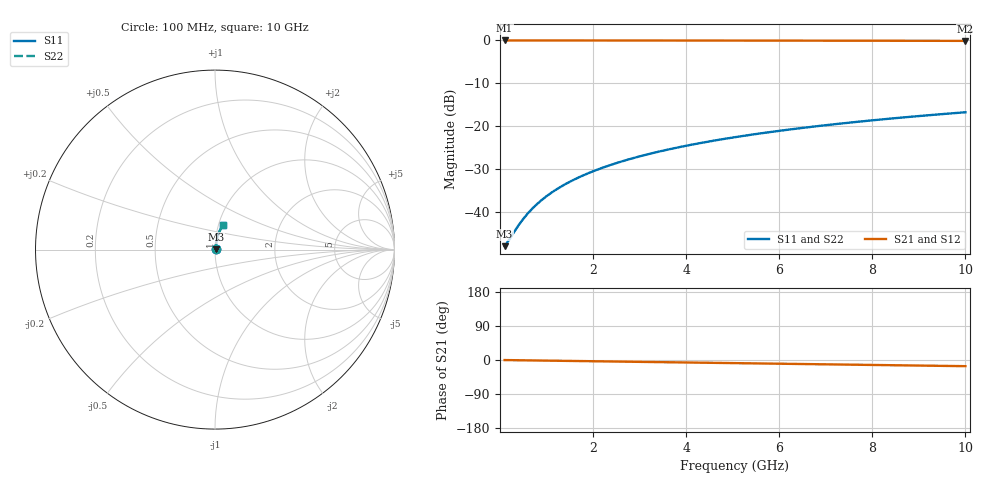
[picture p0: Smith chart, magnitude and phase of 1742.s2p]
# Hz S RI R 50.00
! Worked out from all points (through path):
!   100 points, 100 MHz to 10 GHz, reference 50 ohm
!   highest |S21| = -0.03 dB at 100 MHz (marker M1); lowest = -0.1 dB at 10 GHz (marker M2)
!   group delay of S21, straight-line fit = 4.53 ps
!   lowest |S11| = -48.0 dB at 100 MHz (marker M3), VSWR 1.01, Z = 50.4 + j0.148 ohm
!   |S11| at or under -10 dB: start of sweep to end of sweep
!   |S22| runs from -48.0 to -16.8 dB; largest |S21 - S12| = 0
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1e8  0.00372 0.00147  0.9963 -0.00284  0.9963 -0.00284  0.00372 0.00147
2e8  0.00376 0.00294  0.9962 -0.00569  0.9962 -0.00569  0.00376 0.00294
4e8  0.00384 0.00587  0.9961 -0.0114  0.9961 -0.0114  0.00384 0.00587
5e8  0.00389 0.00734  0.9961 -0.0142  0.9961 -0.0142  0.00389 0.00734
6e8  0.00395 0.00881  0.996 -0.0171  0.996 -0.0171  0.00395 0.00881
7e8  0.00401 0.0103  0.9959 -0.0199  0.9959 -0.0199  0.00401 0.0103
8e8  0.00408 0.0117  0.9958 -0.0228  0.9958 -0.0228  0.00408 0.0117
1e9  0.00425 0.0147  0.9956 -0.0284  0.9956 -0.0284  0.00425 0.0147
1.2e9  0.00445 0.0176  0.9954 -0.0341  0.9954 -0.0341  0.00445 0.0176
1.5e9  0.00481 0.022  0.995 -0.0426  0.995 -0.0426  0.00481 0.022
1.8e9  0.00524 0.0264  0.9944 -0.0512  0.9944 -0.0512  0.00524 0.0264
2.1e9  0.00574 0.0307  0.9938 -0.0597  0.9938 -0.0597  0.00574 0.0307
2.5e9  0.00653 0.0365  0.9928 -0.071  0.9928 -0.071  0.00653 0.0365
2.9e9  0.00744 0.0423  0.9917 -0.0823  0.9917 -0.0823  0.00744 0.0423
3.4e9  0.00877 0.0495  0.9901 -0.0964  0.9901 -0.0964  0.00877 0.0495
4.2e9  0.0113 0.061  0.9869 -0.1189  0.9869 -0.1189  0.0113 0.061
5.1e9  0.0148 0.0737  0.9826 -0.144  0.9826 -0.144  0.0148 0.0737
5.9e9  0.0184 0.0848  0.9782 -0.1661  0.9782 -0.1661  0.0184 0.0848
6.7e9  0.0226 0.0957  0.9731 -0.1881  0.9731 -0.1881  0.0226 0.0957
7.5e9  0.0272 0.1064  0.9673 -0.2099  0.9673 -0.2099  0.0272 0.1064
8.4e9  0.0329 0.1181  0.9602 -0.2341  0.9602 -0.2341  0.0329 0.1181
1e10  0.0446 0.1382  0.9457 -0.2763  0.9457 -0.2763  0.0446 0.1382
